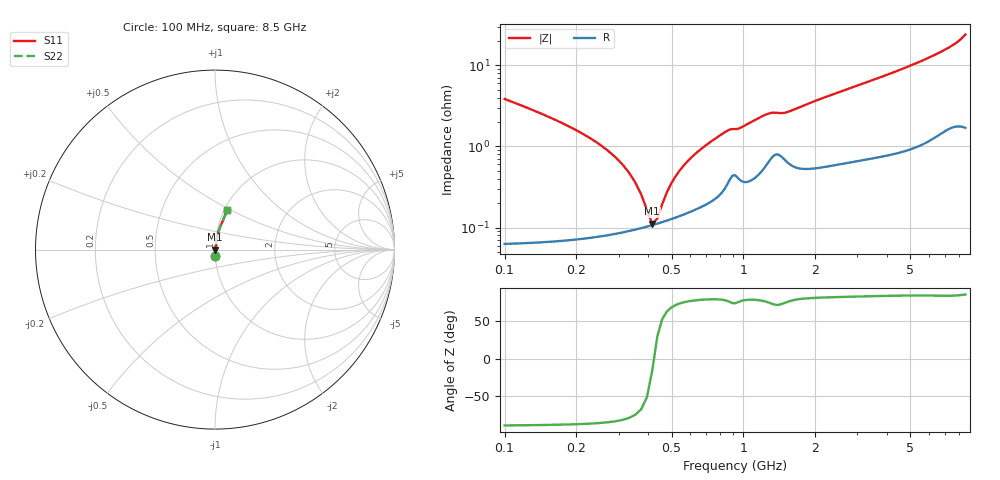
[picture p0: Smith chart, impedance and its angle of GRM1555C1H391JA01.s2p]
!Murata Part Number: GRM1555C1H391JA01
!These Parameters are Measured in Series Mode Connection
!Data Generated on Mar 30, 2021
!  o--ll--o
!Port1  Port2
!  o------o
!Operation Temp=25[degC], DC Bias Voltage=0[V]
!Freq. Start=100[MHz] Stop=9[GHz] 401[Steps]
# Hz S RI R 50
!Freq.(Hz) S11(Real) S11(Imag) S21(Real) S21(Imag) S12(Real) S12(Imag) S22(Real) S22(Imag)
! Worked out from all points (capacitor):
!   401 points, 100 MHz to 8.5 GHz, reference 50 ohm
!   read as one part in series: C = 390 pF near 142 MHz
!   lowest |Z| = 111 mohm at 415 MHz (marker M1)
!   series resonance near 421.7 MHz, so ESL is about 360 pH
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1e8  0.00211 -0.0384  0.9979 0.0384  0.9979 0.0384  0.00211 -0.0384
1.42e8  0.0013 -0.0254  0.9987 0.0254  0.9987 0.0254  0.0013 -0.0254
2.89e8  0.000888 -0.00746  0.9991 0.00746  0.9991 0.00746  0.000888 -0.00746
3.31e8  0.000925 -0.00471  0.9991 0.00471  0.9991 0.00471  0.000925 -0.00471
3.73e8  0.000988 -0.00237  0.999 0.00237  0.999 0.00237  0.000988 -0.00237
3.94e8  0.00103 -0.00131  0.999 0.00131  0.999 0.00131  0.00103 -0.00131
4.15e8  0.00107 -0.000305  0.9989 0.000305  0.9989 0.000305  0.00107 -0.000305
4.36e8  0.00112 0.000645  0.9989 -0.000645  0.9989 -0.000645  0.00112 0.000645
4.57e8  0.00117 0.00155  0.9988 -0.00155  0.9988 -0.00155  0.00117 0.00155
5.2e8  0.00134 0.00406  0.9987 -0.00406  0.9987 -0.00406  0.00134 0.00406
5.83e8  0.00155 0.00635  0.9985 -0.00635  0.9985 -0.00635  0.00155 0.00635
6.67e8  0.00188 0.00917  0.9981 -0.00917  0.9981 -0.00917  0.00188 0.00917
7.93e8  0.00267 0.0132  0.9973 -0.0132  0.9973 -0.0132  0.00267 0.0132
8.56e8  0.00363 0.0151  0.9964 -0.0151  0.9964 -0.0151  0.00363 0.0151
1.234e9  0.00616 0.0236  0.9938 -0.0236  0.9938 -0.0236  0.00616 0.0236
1.507e9  0.0072 0.0251  0.9928 -0.0251  0.9928 -0.0251  0.0072 0.0251
2.116e9  0.00692 0.0379  0.9931 -0.0379  0.9931 -0.0379  0.00692 0.0379
2.914e9  0.00931 0.0533  0.9907 -0.0533  0.9907 -0.0533  0.00931 0.0533
4.3e9  0.0147 0.0808  0.9853 -0.0808  0.9853 -0.0808  0.0147 0.0808
5.707e9  0.0236 0.1125  0.9764 -0.1125  0.9764 -0.1125  0.0236 0.1125
7.114e9  0.0395 0.1512  0.9605 -0.1512  0.9605 -0.1512  0.0395 0.1512
8.5e9  0.0684 0.2194  0.9316 -0.2194  0.9316 -0.2194  0.0684 0.2194
